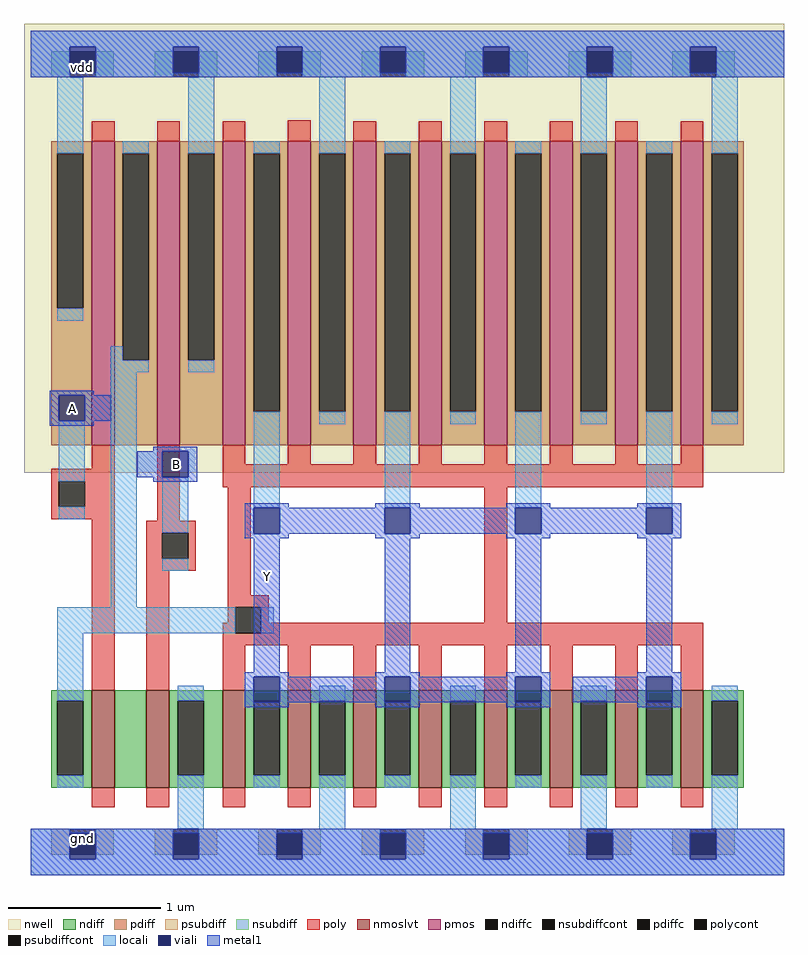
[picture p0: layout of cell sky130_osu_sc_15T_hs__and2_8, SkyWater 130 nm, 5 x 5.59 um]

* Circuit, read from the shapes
.subckt sky130_osu_sc_15T_hs__and2_8 B A Y
XM1 n1 A n2 gnd sky130_fd_pr__nfet_01v8_lvt w=0.64 l=0.15
XM2 gnd B n1 gnd sky130_fd_pr__nfet_01v8_lvt w=0.64 l=0.15
XM3 Y n2 gnd gnd sky130_fd_pr__nfet_01v8_lvt w=0.64 l=0.15 m=8
XM4 n2 A vdd vdd sky130_fd_pr__pfet_01v8 w=2 l=0.15
XM5 vdd B n2 vdd sky130_fd_pr__pfet_01v8 w=2 l=0.15
XM6 Y n2 vdd vdd sky130_fd_pr__pfet_01v8 w=2 l=0.15 m=8
.ends

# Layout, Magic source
magic
tech sky130A
magscale 1 2
<< nwell >>
rect -9 529 990 1119
<< nmoslvt >>
rect 80 115 110 243
rect 152 115 182 243
rect 252 115 282 243
rect 338 115 368 243
rect 424 115 454 243
rect 510 115 540 243
rect 596 115 626 243
rect 682 115 712 243
rect 768 115 798 243
rect 854 115 884 243
<< pmos >>
rect 80 565 110 965
rect 166 565 196 965
rect 252 565 282 965
rect 338 565 368 965
rect 424 565 454 965
rect 510 565 540 965
rect 596 565 626 965
rect 682 565 712 965
rect 768 565 798 965
rect 854 565 884 965
<< ndiff >>
rect 27 229 80 243
rect 27 131 35 229
rect 69 131 80 229
rect 27 115 80 131
rect 110 115 152 243
rect 182 229 252 243
rect 182 131 193 229
rect 227 131 252 229
rect 182 115 252 131
rect 282 229 338 243
rect 282 131 293 229
rect 327 131 338 229
rect 282 115 338 131
rect 368 229 424 243
rect 368 131 379 229
rect 413 131 424 229
rect 368 115 424 131
rect 454 229 510 243
rect 454 131 465 229
rect 499 131 510 229
rect 454 115 510 131
rect 540 229 596 243
rect 540 131 551 229
rect 585 131 596 229
rect 540 115 596 131
rect 626 229 682 243
rect 626 131 637 229
rect 671 131 682 229
rect 626 115 682 131
rect 712 229 768 243
rect 712 131 723 229
rect 757 131 768 229
rect 712 115 768 131
rect 798 229 854 243
rect 798 131 809 229
rect 843 131 854 229
rect 798 115 854 131
rect 884 229 937 243
rect 884 131 895 229
rect 929 131 937 229
rect 884 115 937 131
<< pdiff >>
rect 27 949 80 965
rect 27 745 35 949
rect 69 745 80 949
rect 27 565 80 745
rect 110 949 166 965
rect 110 677 121 949
rect 155 677 166 949
rect 110 565 166 677
rect 196 949 252 965
rect 196 677 207 949
rect 241 677 252 949
rect 196 565 252 677
rect 282 949 338 965
rect 282 609 293 949
rect 327 609 338 949
rect 282 565 338 609
rect 368 949 424 965
rect 368 609 379 949
rect 413 609 424 949
rect 368 565 424 609
rect 454 949 510 965
rect 454 609 465 949
rect 499 609 510 949
rect 454 565 510 609
rect 540 949 596 965
rect 540 609 551 949
rect 585 609 596 949
rect 540 565 596 609
rect 626 949 682 965
rect 626 609 637 949
rect 671 609 682 949
rect 626 565 682 609
rect 712 949 768 965
rect 712 609 723 949
rect 757 609 768 949
rect 712 565 768 609
rect 798 949 854 965
rect 798 609 809 949
rect 843 609 854 949
rect 798 565 854 609
rect 884 949 937 965
rect 884 609 895 949
rect 929 609 937 949
rect 884 565 937 609
<< ndiffc >>
rect 35 131 69 229
rect 193 131 227 229
rect 293 131 327 229
rect 379 131 413 229
rect 465 131 499 229
rect 551 131 585 229
rect 637 131 671 229
rect 723 131 757 229
rect 809 131 843 229
rect 895 131 929 229
<< pdiffc >>
rect 35 745 69 949
rect 121 677 155 949
rect 207 677 241 949
rect 293 609 327 949
rect 379 609 413 949
rect 465 609 499 949
rect 551 609 585 949
rect 637 609 671 949
rect 723 609 757 949
rect 809 609 843 949
rect 895 609 929 949
<< psubdiff >>
rect 27 27 51 61
rect 85 27 109 61
rect 163 27 187 61
rect 221 27 245 61
rect 299 27 323 61
rect 357 27 381 61
rect 435 27 459 61
rect 493 27 517 61
rect 571 27 595 61
rect 629 27 653 61
rect 707 27 731 61
rect 765 27 789 61
rect 843 27 867 61
rect 901 27 925 61
<< nsubdiff >>
rect 27 1049 51 1083
rect 85 1049 109 1083
rect 163 1049 187 1083
rect 221 1049 245 1083
rect 299 1049 323 1083
rect 357 1049 381 1083
rect 435 1049 459 1083
rect 493 1049 517 1083
rect 571 1049 595 1083
rect 629 1049 653 1083
rect 707 1049 731 1083
rect 765 1049 789 1083
rect 843 1049 867 1083
rect 901 1049 925 1083
<< psubdiffcont >>
rect 51 27 85 61
rect 187 27 221 61
rect 323 27 357 61
rect 459 27 493 61
rect 595 27 629 61
rect 731 27 765 61
rect 867 27 901 61
<< nsubdiffcont >>
rect 51 1049 85 1083
rect 187 1049 221 1083
rect 323 1049 357 1083
rect 459 1049 493 1083
rect 595 1049 629 1083
rect 731 1049 765 1083
rect 867 1049 901 1083
<< poly >>
rect 80 965 110 991
rect 166 965 196 991
rect 252 965 282 991
rect 338 965 368 992
rect 424 965 454 991
rect 510 965 540 991
rect 596 965 626 991
rect 682 965 712 991
rect 768 965 798 991
rect 854 965 884 991
rect 80 534 110 565
rect 27 518 110 534
rect 27 484 37 518
rect 71 484 110 518
rect 27 468 110 484
rect 80 243 110 468
rect 166 466 196 565
rect 252 540 282 565
rect 338 540 368 565
rect 424 540 454 565
rect 510 540 540 565
rect 596 540 626 565
rect 682 540 712 565
rect 768 540 798 565
rect 854 540 884 565
rect 252 510 884 540
rect 152 450 217 466
rect 152 416 173 450
rect 207 416 217 450
rect 152 400 217 416
rect 152 243 182 400
rect 259 368 289 510
rect 259 352 313 368
rect 259 332 269 352
rect 252 318 269 332
rect 303 332 313 352
rect 596 332 626 510
rect 303 318 884 332
rect 252 302 884 318
rect 252 243 282 302
rect 338 243 368 302
rect 424 243 454 302
rect 510 243 540 302
rect 596 243 626 302
rect 682 243 712 302
rect 768 243 798 302
rect 854 243 884 302
rect 80 89 110 115
rect 152 89 182 115
rect 252 89 282 115
rect 338 89 368 115
rect 424 89 454 115
rect 510 89 540 115
rect 596 89 626 115
rect 682 89 712 115
rect 768 89 798 115
rect 854 89 884 115
<< polycont >>
rect 37 484 71 518
rect 173 416 207 450
rect 269 318 303 352
<< locali >>
rect 0 1089 990 1110
rect 0 1049 51 1089
rect 85 1049 187 1089
rect 221 1049 323 1089
rect 357 1049 459 1089
rect 493 1049 595 1089
rect 629 1049 731 1089
rect 765 1049 867 1089
rect 901 1049 990 1089
rect 35 949 69 1049
rect 35 729 69 745
rect 121 949 155 965
rect 105 677 121 695
rect 105 661 155 677
rect 207 949 241 1049
rect 207 661 241 677
rect 293 949 327 965
rect 37 518 71 597
rect 37 468 71 484
rect 105 352 139 661
rect 173 450 207 523
rect 293 483 327 609
rect 379 949 413 1049
rect 379 593 413 609
rect 465 949 499 965
rect 465 483 499 609
rect 551 949 585 1049
rect 551 593 585 609
rect 637 949 671 965
rect 637 483 671 609
rect 723 949 757 1049
rect 723 593 757 609
rect 809 949 843 965
rect 809 483 843 609
rect 895 949 929 1049
rect 895 593 929 609
rect 173 400 207 416
rect 35 318 269 352
rect 303 318 319 352
rect 35 229 69 318
rect 35 115 69 131
rect 193 229 227 249
rect 193 61 227 131
rect 293 115 327 131
rect 379 229 413 249
rect 379 61 413 131
rect 465 115 499 131
rect 551 229 585 249
rect 551 61 585 131
rect 637 115 671 131
rect 723 229 757 249
rect 723 61 757 131
rect 809 115 843 131
rect 895 229 929 249
rect 895 61 929 131
rect 0 21 51 61
rect 85 21 187 61
rect 221 21 323 61
rect 357 21 459 61
rect 493 21 595 61
rect 629 21 731 61
rect 765 21 867 61
rect 901 21 990 61
rect 0 0 990 21
<< viali >>
rect 51 1083 85 1089
rect 51 1055 85 1083
rect 187 1083 221 1089
rect 187 1055 221 1083
rect 323 1083 357 1089
rect 323 1055 357 1083
rect 459 1083 493 1089
rect 459 1055 493 1083
rect 595 1083 629 1089
rect 595 1055 629 1083
rect 731 1083 765 1089
rect 731 1055 765 1083
rect 867 1083 901 1089
rect 867 1055 901 1083
rect 37 597 71 631
rect 173 523 207 557
rect 293 449 327 483
rect 465 449 499 483
rect 637 449 671 483
rect 809 449 843 483
rect 293 229 327 261
rect 293 227 327 229
rect 465 229 499 261
rect 465 227 499 229
rect 637 229 671 261
rect 637 227 671 229
rect 809 229 843 261
rect 809 227 843 229
rect 51 27 85 55
rect 51 21 85 27
rect 187 27 221 55
rect 187 21 221 27
rect 323 27 357 55
rect 323 21 357 27
rect 459 27 493 55
rect 459 21 493 27
rect 595 27 629 55
rect 595 21 629 27
rect 731 27 765 55
rect 731 21 765 27
rect 867 27 901 55
rect 867 21 901 27
<< metal1 >>
rect 0 1089 990 1110
rect 0 1055 51 1089
rect 85 1055 187 1089
rect 221 1055 323 1089
rect 357 1055 459 1089
rect 493 1055 595 1089
rect 629 1055 731 1089
rect 765 1055 867 1089
rect 901 1055 990 1089
rect 0 1049 990 1055
rect 25 631 83 637
rect 25 597 37 631
rect 71 597 105 631
rect 25 591 83 597
rect 161 557 219 563
rect 140 523 173 557
rect 207 523 219 557
rect 161 517 219 523
rect 281 483 339 489
rect 453 483 511 489
rect 625 483 683 489
rect 797 483 855 489
rect 281 449 293 483
rect 327 449 465 483
rect 499 449 637 483
rect 671 449 809 483
rect 843 449 855 483
rect 281 443 339 449
rect 453 443 511 449
rect 625 443 683 449
rect 797 443 855 449
rect 293 267 327 443
rect 465 267 499 443
rect 637 267 671 443
rect 809 267 843 443
rect 281 261 339 267
rect 453 261 511 267
rect 625 261 683 267
rect 797 261 855 267
rect 281 227 293 261
rect 327 227 465 261
rect 499 227 637 261
rect 671 227 683 261
rect 712 227 809 261
rect 843 227 855 261
rect 281 221 339 227
rect 453 221 511 227
rect 625 221 683 227
rect 797 221 855 227
rect 0 55 990 61
rect 0 21 51 55
rect 85 21 187 55
rect 221 21 323 55
rect 357 21 459 55
rect 493 21 595 55
rect 629 21 731 55
rect 765 21 867 55
rect 901 21 990 55
rect 0 0 990 21
<< labels >>
rlabel viali 191 540 191 540 1 B
port 1 n
rlabel viali 55 614 55 614 1 A
port 2 n
rlabel metal1 311 392 311 392 1 Y
port 3 n
rlabel viali 68 48 68 48 1 gnd
rlabel viali 68 1062 68 1062 1 vdd
<< end >>
